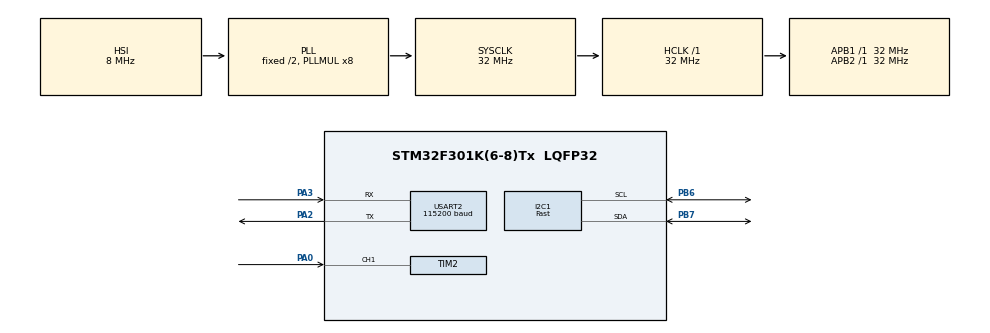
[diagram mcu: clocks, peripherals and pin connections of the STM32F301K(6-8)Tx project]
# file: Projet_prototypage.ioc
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I2C1.I2C_Speed_Mode=I2C_Fast
I2C1.Timing=0x0000020B
Mcu.Family=STM32F3
Mcu.Name=STM32F301K(6-8)Tx
Mcu.Package=LQFP32
NVIC.PriorityGroup=NVIC_PRIORITYGROUP_4
NVIC.TIM2_IRQn=true\:0\:0\:false\:false\:true\:true\:true\:true
NVIC.USART2_IRQn=true\:0\:0\:false\:false\:true\:true\:true\:true
PA0.Signal=S_TIM2_CH1_ETR
PA13.Mode=Serial_Wire
PA13.Signal=SYS_JTMS-SWDIO
PA14.Mode=Serial_Wire
PA14.Signal=SYS_JTCK-SWCLK
PA2.Mode=Asynchronous
PA2.Signal=USART2_TX
PA3.Mode=Asynchronous
PA3.Signal=USART2_RX
PB6.Mode=I2C
PB6.Signal=I2C1_SCL
PB7.Mode=I2C
PB7.Signal=I2C1_SDA
ProjectManager.HeapSize=0x200
ProjectManager.StackSize=0x400
ProjectManager.TargetToolchain=STM32CubeIDE
RCC.AHBFreq_Value=32000000
RCC.APB1Freq_Value=32000000
RCC.APB1TimFreq_Value=32000000
RCC.APB2Freq_Value=32000000
RCC.APB2TimFreq_Value=32000000
RCC.CortexFreq_Value=32000000
RCC.HCLKFreq_Value=32000000
RCC.HSE_VALUE=8000000
RCC.HSI_VALUE=8000000
RCC.PLLMUL=RCC_PLL_MUL8
RCC.SYSCLKFreq_VALUE=32000000
RCC.SYSCLKSourceVirtual=RCC_SYSCLKSOURCE_PLLCLK
SH.S_TIM2_CH1_ETR.0=TIM2_CH1,Input_Capture1_from_TI1
TIM2.AutoReloadPreload=TIM_AUTORELOAD_PRELOAD_ENABLE
TIM2.Channel-Input_Capture1_from_TI1=TIM_CHANNEL_1
USART2.BaudRate=115200
USART2.VirtualMode-Asynchronous=VM_ASYNC
VP_TIM2_VS_ClockSourceINT.Mode=Internal
board=custom

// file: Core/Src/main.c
/* USER CODE BEGIN Header */
/**
  ******************************************************************************
  * @file           : main.c
  * @brief          : Main program body
  ******************************************************************************
  * @attention
  *
  * Copyright (c) 2024 STMicroelectronics.
  * All rights reserved.
  *
  * This software is licensed under terms that can be found in the LICENSE file
  * in the root directory of this software component.
  * If no LICENSE file comes with this software, it is provided AS-IS.
  *
  ******************************************************************************
  */
/* USER CODE END Header */
#include "main.h"

/* USER CODE BEGIN Includes */
#include "ssd1306.h"
#include "fonts.h"
#include "stdio.h"

/* USER CODE END Includes */

/* USER CODE BEGIN PD */
#define NB_MESURES_MOYENNE 200
#define TAILLE_ELECTRODE_MM 5

#define LIGNE 12

#define P_TO_N(periode) 0.02052*(periode)-15.189
#define N_TO_T(nombre_electrodes_touchees) (nombre_electrodes_touchees)*TAILLE_ELECTRODE_MM*TAILLE_ELECTRODE_MM
#define INCERTITUDE(nombre_electrodes_touchees) (14 + 9.5 * ((nombre_electrodes_touchees) - 1)) * 4
/* USER CODE END PD */

I2C_HandleTypeDef hi2c1;

TIM_HandleTypeDef htim2;

UART_HandleTypeDef huart2;

/* USER CODE BEGIN PV */
volatile int t_start = 0;
volatile int periode = 0;
volatile int nb_electrodes_couvertes = 0;
volatile int taille_objet = 0;
volatile int incertitude_taille_objet = 0;
volatile int mesures[NB_MESURES_MOYENNE] = {0};
volatile int i_mesure = 0;

/* USER CODE END PV */

void SystemClock_Config(void);
static void MX_GPIO_Init(void);
static void MX_TIM2_Init(void);
static void MX_USART2_UART_Init(void);
static void MX_I2C1_Init(void);
/* USER CODE BEGIN PFP */
void SystemClock_Config(void);
static void MX_GPIO_Init(void);
static void MX_TIM2_Init(void);
static void MX_USART2_UART_Init(void);

/* USER CODE END PFP */

int main(void)
{
  /* USER CODE BEGIN 1 */
	int old_nb_electrodes_couvertes = 0;
	int old_taille_objet = 0;

  /* USER CODE END 1 */

  /* MCU Configuration--------------------------------------------------------*/

  /* Reset of all peripherals, Initializes the Flash interface and the Systick. */
  HAL_Init();

  /* Configure the system clock */
  SystemClock_Config();

  /* Initialize all configured peripherals */
  MX_GPIO_Init();
  MX_TIM2_Init();
  MX_USART2_UART_Init();
  MX_I2C1_Init();
  /* USER CODE BEGIN 2 */
  HAL_TIM_IC_Start_IT(&htim2, TIM_CHANNEL_1);

  SSD1306_Init (); // initialize the display
//  SSD1306_GotoXY (1,0); // goto 10, 10
//  SSD1306_Puts ("Nb electrodes:", &Font_7x10, 1); // print Hello
//  SSD1306_GotoXY (1,30); // goto 10, 10
//  SSD1306_Puts ("Taille objet(mm2):", &Font_7x10, 1); // print Hello
//  SSD1306_UpdateScreen(); // update screen

  /* USER CODE END 2 */

  /* Infinite loop */
  /* USER CODE BEGIN WHILE */
  while (1)
  {
	  /*
	  char message[20];
	  sprintf(message, "%d\n", periode);
	  HAL_UART_Transmit(&huart2, (const uint8_t*)message, sizeof(periode), HAL_MAX_DELAY);
	  */

	  // rafraichissement
	  if (nb_electrodes_couvertes != old_nb_electrodes_couvertes || taille_objet != old_taille_objet) {
		  // formatage
		  char message_nb_electrodes[40];
		  sprintf(message_nb_electrodes, "Nb electrodes: %d  \n", nb_electrodes_couvertes);

		  char message_taille_objet[] = "Taille objet:";
		  char message_taille_incertitude[30];
		  sprintf(message_taille_incertitude, "%d +- %d mm2    \n", taille_objet, incertitude_taille_objet);

		  //char message_incertitude_taille[10];
		  //sprintf(message_incertitude_taille, "%d", incertitude_taille_objet);

		  // affichage
		  SSD1306_Clear();

		  SSD1306_GotoXY (1, LIGNE*0);
		  SSD1306_Puts (message_nb_electrodes, &Font_7x10, 1);
		  //HAL_UART_Transmit(&huart2, (const uint8_t*)message_nb_electrodes, sizeof(message_nb_electrodes), HAL_MAX_DELAY);

		  SSD1306_GotoXY (1, LIGNE*2);
		  SSD1306_Puts (message_taille_objet, &Font_7x10, 1);

		  SSD1306_GotoXY (1,LIGNE*3);
		  SSD1306_Puts (message_taille_incertitude, &Font_7x10, 1);
		  HAL_UART_Transmit(&huart2, (const uint8_t*)message_taille_incertitude, sizeof(message_taille_incertitude), HAL_MAX_DELAY);

		  SSD1306_UpdateScreen();

		  old_nb_electrodes_couvertes = nb_electrodes_couvertes;
		  old_taille_objet = taille_objet;
	  }

	  HAL_Delay(100);
    /* USER CODE END WHILE */

  }
}

void SystemClock_Config(void)
{
  RCC_OscInitTypeDef RCC_OscInitStruct = {0};
  RCC_ClkInitTypeDef RCC_ClkInitStruct = {0};
  RCC_PeriphCLKInitTypeDef PeriphClkInit = {0};

  /** Initializes the RCC Oscillators according to the specified parameters
  * in the RCC_OscInitTypeDef structure.
  */
  RCC_OscInitStruct.OscillatorType = RCC_OSCILLATORTYPE_HSI;
  RCC_OscInitStruct.HSIState = RCC_HSI_ON;
  RCC_OscInitStruct.HSICalibrationValue = RCC_HSICALIBRATION_DEFAULT;
  RCC_OscInitStruct.PLL.PLLState = RCC_PLL_ON;
  RCC_OscInitStruct.PLL.PLLSource = RCC_PLLSOURCE_HSI;
  RCC_OscInitStruct.PLL.PLLMUL = RCC_PLL_MUL8;
  if (HAL_RCC_OscConfig(&RCC_OscInitStruct) != HAL_OK)
  {
    Error_Handler();
  }

  /** Initializes the CPU, AHB and APB buses clocks
  */
  RCC_ClkInitStruct.ClockType = RCC_CLOCKTYPE_HCLK|RCC_CLOCKTYPE_SYSCLK
                              |RCC_CLOCKTYPE_PCLK1|RCC_CLOCKTYPE_PCLK2;
  RCC_ClkInitStruct.SYSCLKSource = RCC_SYSCLKSOURCE_PLLCLK;
  RCC_ClkInitStruct.AHBCLKDivider = RCC_SYSCLK_DIV1;
  RCC_ClkInitStruct.APB1CLKDivider = RCC_HCLK_DIV1;
  RCC_ClkInitStruct.APB2CLKDivider = RCC_HCLK_DIV1;

  if (HAL_RCC_ClockConfig(&RCC_ClkInitStruct, FLASH_LATENCY_1) != HAL_OK)
  {
    Error_Handler();
  }
  PeriphClkInit.PeriphClockSelection = RCC_PERIPHCLK_I2C1;
  PeriphClkInit.I2c1ClockSelection = RCC_I2C1CLKSOURCE_HSI;
  if (HAL_RCCEx_PeriphCLKConfig(&PeriphClkInit) != HAL_OK)
  {
    Error_Handler();
  }
}

static void MX_I2C1_Init(void)
{

  hi2c1.Instance = I2C1;
  hi2c1.Init.Timing = 0x0000020B;
  hi2c1.Init.OwnAddress1 = 0;
  hi2c1.Init.AddressingMode = I2C_ADDRESSINGMODE_7BIT;
  hi2c1.Init.DualAddressMode = I2C_DUALADDRESS_DISABLE;
  hi2c1.Init.OwnAddress2 = 0;
  hi2c1.Init.OwnAddress2Masks = I2C_OA2_NOMASK;
  hi2c1.Init.GeneralCallMode = I2C_GENERALCALL_DISABLE;
  hi2c1.Init.NoStretchMode = I2C_NOSTRETCH_DISABLE;
  if (HAL_I2C_Init(&hi2c1) != HAL_OK)
  {
    Error_Handler();
  }

  /** Configure Analogue filter
  */
  if (HAL_I2CEx_ConfigAnalogFilter(&hi2c1, I2C_ANALOGFILTER_ENABLE) != HAL_OK)
  {
    Error_Handler();
  }

  /** Configure Digital filter
  */
  if (HAL_I2CEx_ConfigDigitalFilter(&hi2c1, 0) != HAL_OK)
  {
    Error_Handler();
  }

}

static void MX_TIM2_Init(void)
{

  TIM_ClockConfigTypeDef sClockSourceConfig = {0};
  TIM_MasterConfigTypeDef sMasterConfig = {0};
  TIM_IC_InitTypeDef sConfigIC = {0};

  htim2.Instance = TIM2;
  htim2.Init.Prescaler = 0;
  htim2.Init.CounterMode = TIM_COUNTERMODE_UP;
  htim2.Init.Period = 4294967295;
  htim2.Init.ClockDivision = TIM_CLOCKDIVISION_DIV1;
  htim2.Init.AutoReloadPreload = TIM_AUTORELOAD_PRELOAD_ENABLE;
  if (HAL_TIM_Base_Init(&htim2) != HAL_OK)
  {
    Error_Handler();
  }
  sClockSourceConfig.ClockSource = TIM_CLOCKSOURCE_INTERNAL;
  if (HAL_TIM_ConfigClockSource(&htim2, &sClockSourceConfig) != HAL_OK)
  {
    Error_Handler();
  }
  if (HAL_TIM_IC_Init(&htim2) != HAL_OK)
  {
    Error_Handler();
  }
  sMasterConfig.MasterOutputTrigger = TIM_TRGO_RESET;
  sMasterConfig.MasterSlaveMode = TIM_MASTERSLAVEMODE_DISABLE;
  if (HAL_TIMEx_MasterConfigSynchronization(&htim2, &sMasterConfig) != HAL_OK)
  {
    Error_Handler();
  }
  sConfigIC.ICPolarity = TIM_INPUTCHANNELPOLARITY_RISING;
  sConfigIC.ICSelection = TIM_ICSELECTION_DIRECTTI;
  sConfigIC.ICPrescaler = TIM_ICPSC_DIV1;
  sConfigIC.ICFilter = 0;
  if (HAL_TIM_IC_ConfigChannel(&htim2, &sConfigIC, TIM_CHANNEL_1) != HAL_OK)
  {
    Error_Handler();
  }

}

static void MX_USART2_UART_Init(void)
{

  huart2.Instance = USART2;
  huart2.Init.BaudRate = 115200;
  huart2.Init.WordLength = UART_WORDLENGTH_8B;
  huart2.Init.StopBits = UART_STOPBITS_1;
  huart2.Init.Parity = UART_PARITY_NONE;
  huart2.Init.Mode = UART_MODE_TX_RX;
  huart2.Init.HwFlowCtl = UART_HWCONTROL_NONE;
  huart2.Init.OverSampling = UART_OVERSAMPLING_16;
  huart2.Init.OneBitSampling = UART_ONE_BIT_SAMPLE_DISABLE;
  huart2.AdvancedInit.AdvFeatureInit = UART_ADVFEATURE_NO_INIT;
  if (HAL_UART_Init(&huart2) != HAL_OK)
  {
    Error_Handler();
  }

}

static void MX_GPIO_Init(void)
{

  /* GPIO Ports Clock Enable */
  __HAL_RCC_GPIOA_CLK_ENABLE();
  __HAL_RCC_GPIOB_CLK_ENABLE();

}

/* USER CODE BEGIN 4 */
void HAL_TIM_IC_CaptureCallback(TIM_HandleTypeDef *htim)
{
	if (htim == &htim2){

		if (i_mesure < NB_MESURES_MOYENNE) {
			mesures[i_mesure] = HAL_TIM_ReadCapturedValue(&htim2, TIM_CHANNEL_1) - t_start;
			t_start = HAL_TIM_ReadCapturedValue(&htim2, TIM_CHANNEL_1);
			i_mesure++;
		}
		else {
			i_mesure = 0;

			int somme = 0;
			for(int i=0; i<NB_MESURES_MOYENNE; i++) {
				somme += mesures[i];
			}

			periode = somme / NB_MESURES_MOYENNE;
			nb_electrodes_couvertes = P_TO_N(periode);
			taille_objet = N_TO_T(nb_electrodes_couvertes);
			incertitude_taille_objet = INCERTITUDE(nb_electrodes_couvertes);
		}

	}
}

/* USER CODE END 4 */

void Error_Handler(void)
{
  __disable_irq();
  while (1)
  {
  }
}
